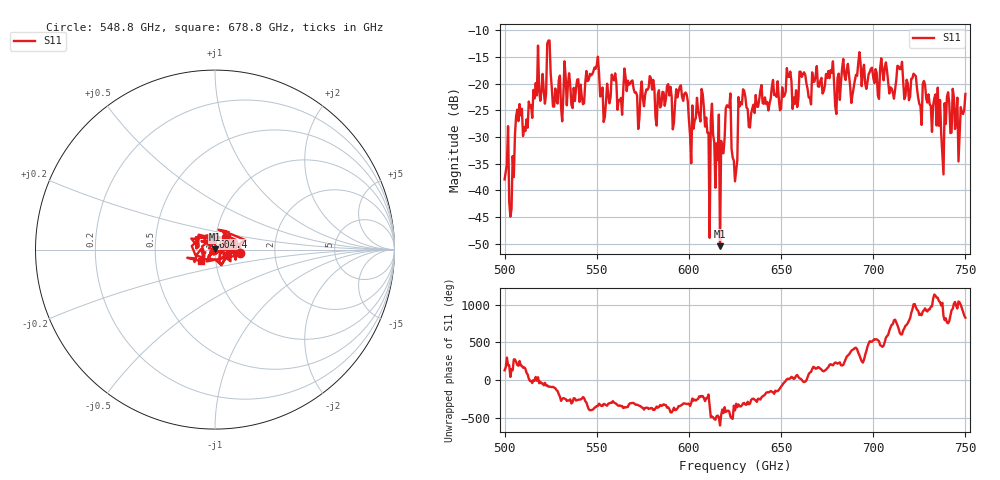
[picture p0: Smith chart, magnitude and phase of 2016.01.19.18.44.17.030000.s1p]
!Created with skrf (http://scikit-rf.org).
# GHz S RI R 50.0
!freq ReS11 ImS11
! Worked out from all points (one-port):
!   401 points, 500 GHz to 750 GHz, reference 50 ohm
!   lowest |S11| = -50.4 dB at 616.9 GHz (marker M1), VSWR 1.01, Z = 49.9 + j0.267 ohm
!   |S11| at or under -10 dB: start of sweep to end of sweep
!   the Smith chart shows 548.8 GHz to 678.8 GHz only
!   S11 on the Smith chart (normalised r, x): 548.8 GHz: 1.32, -0.05; 604.4 GHz: 0.96, +0.14; 678.8 GHz: 0.85, -0.11
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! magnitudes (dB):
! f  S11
! 500 GHz  -38.0
! 503.8 GHz  -43.5
! 506.9 GHz  -24.9
! 511.2 GHz  -28.9
! 523.8 GHz  -12.0
! 527.5 GHz  -20.9
! 531.2 GHz  -27.1
! 548.8 GHz  -17.0
! 553.1 GHz  -20.8
! 562.5 GHz  -23.3
! 566.2 GHz  -21.4
! 593.8 GHz  -22.6
! 601.2 GHz  -34.9
! 604.4 GHz  -22.7
! 616.9 GHz  -50.4
! 621.2 GHz  -24.3
! 625 GHz  -38.3
! 629.4 GHz  -21.1
! 656.2 GHz  -24.8
! 678.8 GHz  -19.8
! 687.5 GHz  -20.7
! 714.4 GHz  -17.3
! 718.8 GHz  -20.0
! 733.8 GHz  -22.0
! 736.9 GHz  -29.4
! 740 GHz  -22.5
! 745.6 GHz  -22.7
! 750 GHz  -22.0
